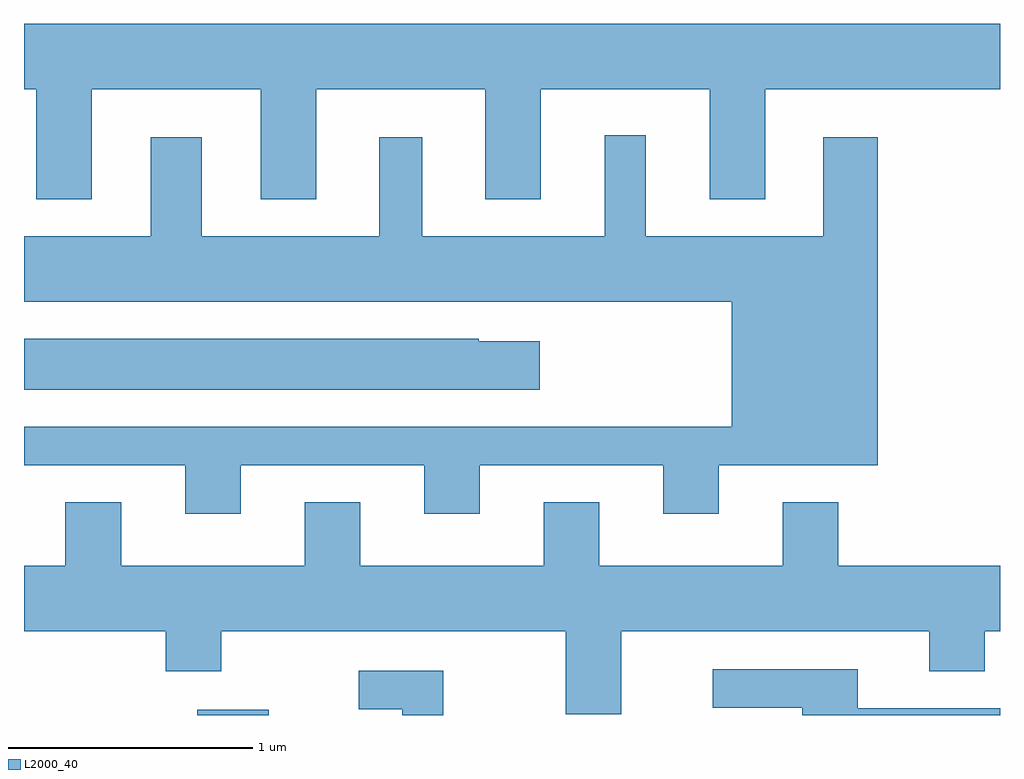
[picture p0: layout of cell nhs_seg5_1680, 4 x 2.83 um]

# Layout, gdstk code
import gdstk
lib = gdstk.Library(unit=1e-6, precision=1e-09)
def R(c, l, rs):  # rectangles x0, y0, x1, y1
    for r in rs: c.add(gdstk.rectangle(r[:2], r[2:], *l))
def P(c, l, *ps):  # polygons
    for p in ps: c.add(gdstk.Polygon(p, *l))
L2000_40 = (2000, 40)

nhs_seg5_1680 = lib.new_cell('nhs_seg5_1680')
R(nhs_seg5_1680, L2000_40, [(236.321,1392.072,236.614,1392.094)])
P(nhs_seg5_1680, L2000_40, [(235.889,1394.636),(236.581,1394.636),(236.581,1394.186),(236.809,1394.186),(236.809,1394.636),(237.501,1394.636),(237.501,1394.186),(237.729,1394.186),(237.729,1394.636),(238.421,1394.636),(238.421,1394.186),(238.649,1394.186),(238.649,1394.636),(239.611,1394.636),(239.611,1394.904),(235.611,1394.904),(235.611,1394.636),(235.661,1394.636),(235.661,1394.186),(235.889,1394.186)],
  [(236.499,1393.096),(237.251,1393.096),(237.251,1392.896),(237.479,1392.896),(237.479,1393.096),(238.231,1393.096),(238.231,1392.896),(238.459,1392.896),(238.459,1393.096),(239.109,1393.096),(239.109,1394.439),(238.886,1394.439),(238.886,1394.034),(238.159,1394.034),(238.159,1394.448),(237.991,1394.448),(237.991,1394.034),(237.244,1394.034),(237.244,1394.439),(237.066,1394.439),(237.066,1394.034),(236.339,1394.034),(236.339,1394.439),(236.131,1394.439),(236.131,1394.034),(235.611,1394.034),(235.611,1393.766),(238.511,1393.766),(238.511,1393.254),(235.611,1393.254),(235.611,1393.096),(236.271,1393.096),(236.271,1392.896),(236.499,1392.896)],
  [(237.724,1393.604),(237.475,1393.604),(237.475,1393.614),(235.611,1393.614),(235.611,1393.406),(237.724,1393.406)],
  [(238.059,1392.416),(239.321,1392.416),(239.321,1392.251),(239.549,1392.251),(239.549,1392.416),(239.611,1392.416),(239.611,1392.684),(238.949,1392.684),(238.949,1392.944),(238.721,1392.944),(238.721,1392.684),(237.969,1392.684),(237.969,1392.944),(237.741,1392.944),(237.741,1392.684),(236.989,1392.684),(236.989,1392.944),(236.761,1392.944),(236.761,1392.684),(236.009,1392.684),(236.009,1392.944),(235.781,1392.944),(235.781,1392.684),(235.611,1392.684),(235.611,1392.416),(236.191,1392.416),(236.191,1392.251),(236.419,1392.251),(236.419,1392.416),(237.831,1392.416),(237.831,1392.076),(238.059,1392.076)],
  [(239.611,1392.099),(239.029,1392.099),(239.029,1392.259),(238.433,1392.259),(238.433,1392.101),(238.801,1392.101),(238.801,1392.072),(239.611,1392.072)],
  [(237.329,1392.254),(236.983,1392.254),(236.983,1392.096),(237.161,1392.096),(237.161,1392.072),(237.329,1392.072)])

lib.write_gds('nhs_seg5_1680.gds')
